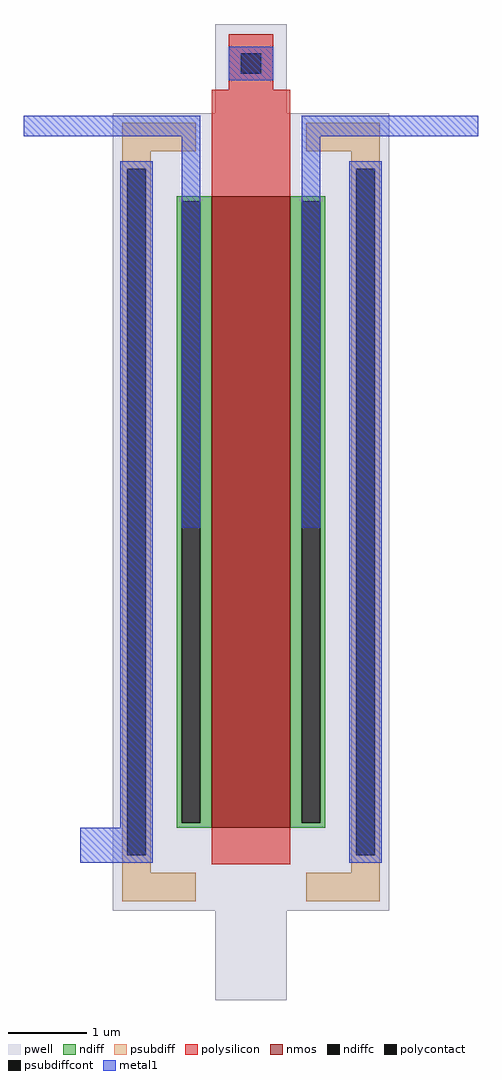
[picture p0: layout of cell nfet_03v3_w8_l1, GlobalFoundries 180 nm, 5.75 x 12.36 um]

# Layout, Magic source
magic
tech gf180mcuD
magscale 1 10
<< pwell >>
rect -350 -1010 350 1010
rect -90 800 90 1236
rect -90 -1236 90 -800
<< nmos >>
rect -100 -800 100 800
<< ndiff >>
rect -188 787 -100 800
rect -188 -787 -175 787
rect -129 -787 -100 787
rect -188 -800 -100 -787
rect 100 787 188 800
rect 100 -787 129 787
rect 175 -787 188 787
rect 100 -800 188 -787
<< ndiffc >>
rect -175 -787 -129 787
rect 129 -787 175 787
<< psubdiff >>
rect -326 870 -254 914
rect -326 -870 -313 870
rect -267 -870 -254 870
rect 254 870 326 914
rect -326 -914 -254 -870
rect 254 -870 267 870
rect 313 -870 326 870
rect 254 -914 326 -870
rect -326 914 -140 986
rect 140 914 326 986
rect -326 -986 -140 -914
rect 140 -986 326 -914
<< psubdiffcont >>
rect -313 -870 -267 870
rect 267 -870 313 870
<< polysilicon >>
rect -100 -892 100 1070
rect -56 1060 56 1210
<< polycontact >>
rect -26 1110 26 1162
<< metal1 >>
rect -56 1094 56 1178
rect -175 -40 -129 952
rect -575 952 -129 1004
rect 129 -40 175 952
rect 129 952 575 1004
rect -331 -888 -249 888
rect 249 -888 331 888
rect -433 -888 -249 -800
<< properties >>
<< end >>
<< via1 >>
rect -26 1110 26 1162
<< metal2 >>
rect -52 1100 52 1184
<< properties >>
<< end >>
